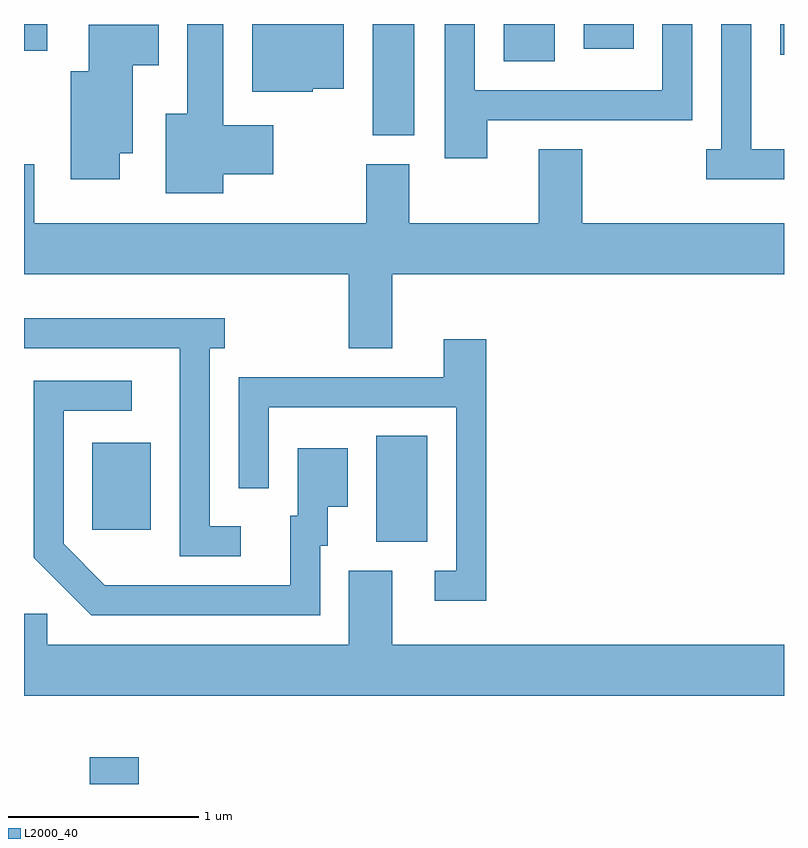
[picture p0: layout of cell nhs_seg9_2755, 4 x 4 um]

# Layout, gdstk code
import gdstk
lib = gdstk.Library(unit=1e-6, precision=1e-09)
def R(c, l, rs):  # rectangles x0, y0, x1, y1
    for r in rs: c.add(gdstk.rectangle(r[:2], r[2:], *l))
def P(c, l, *ps):  # polygons
    for p in ps: c.add(gdstk.Polygon(p, *l))
L2000_40 = (2000, 40)

nhs_seg9_2755 = lib.new_cell('nhs_seg9_2755')
R(nhs_seg9_2755, L2000_40, [(265.956,2022.432,266.214,2022.574), (267.466,2023.706,267.734,2024.264), (265.971,2023.771,266.279,2024.229), (267.446,2025.846,267.664,2026.432), (268.136,2026.236,268.404,2026.432), (269.591,2026.271,269.611,2026.432), (265.611,2026.291,265.734,2026.432), (268.556,2026.301,268.819,2026.432)])
P(nhs_seg9_2755, L2000_40, [(266.659,2025.641),(266.924,2025.641),(266.924,2025.899),(266.659,2025.899),(266.659,2026.432),(266.471,2026.432),(266.471,2025.959),(266.356,2025.959),(266.356,2025.541),(266.659,2025.541)],
  [(269.611,2025.774),(269.439,2025.774),(269.439,2026.432),(269.281,2026.432),(269.281,2025.774),(269.203,2025.774),(269.203,2025.616),(269.611,2025.616)],
  [(268.049,2025.926),(269.129,2025.926),(269.129,2026.432),(268.971,2026.432),(268.971,2026.084),(267.984,2026.084),(267.984,2026.432),(267.826,2026.432),(267.826,2025.726),(268.049,2025.726)],
  [(267.13,2026.091),(267.294,2026.091),(267.294,2026.432),(266.811,2026.432),(266.811,2026.076),(267.13,2026.076)],
  [(266.114,2025.751),(266.184,2025.751),(266.184,2026.216),(266.319,2026.216),(266.319,2026.429),(265.951,2026.429),(265.951,2026.184),(265.856,2026.184),(265.856,2025.616),(266.114,2025.616)],
  [(267.549,2025.116),(269.611,2025.116),(269.611,2025.384),(268.549,2025.384),(268.549,2025.774),(268.321,2025.774),(268.321,2025.384),(267.639,2025.384),(267.639,2025.694),(267.411,2025.694),(267.411,2025.384),(265.664,2025.384),(265.664,2025.694),(265.611,2025.694),(265.611,2025.116),(267.321,2025.116),(267.321,2024.726),(267.549,2024.726)],
  [(266.753,2023.789),(266.589,2023.789),(266.589,2024.726),(266.668,2024.726),(266.668,2024.884),(265.611,2024.884),(265.611,2024.726),(266.431,2024.726),(266.431,2023.631),(266.753,2023.631)],
  [(268.044,2024.774),(267.821,2024.774),(267.821,2024.574),(266.741,2024.574),(266.741,2023.988),(266.899,2023.988),(266.899,2024.416),(267.886,2024.416),(267.886,2023.554),(267.773,2023.554),(267.773,2023.396),(268.044,2023.396)],
  [(267.169,2023.686),(267.209,2023.686),(267.209,2023.891),(267.314,2023.891),(267.314,2024.199),(267.051,2024.199),(267.051,2023.844),(267.011,2023.844),(267.011,2023.479),(266.037,2023.479),(265.819,2023.697),(265.819,2024.396),(266.178,2024.396),(266.178,2024.554),(265.661,2024.554),(265.661,2023.624),(265.964,2023.321),(267.169,2023.321)],
  [(269.611,2023.164),(267.549,2023.164),(267.549,2023.554),(267.321,2023.554),(267.321,2023.164),(265.734,2023.164),(265.734,2023.329),(265.611,2023.329),(265.611,2022.896),(269.611,2022.896)])

lib.write_gds('nhs_seg9_2755.gds')
